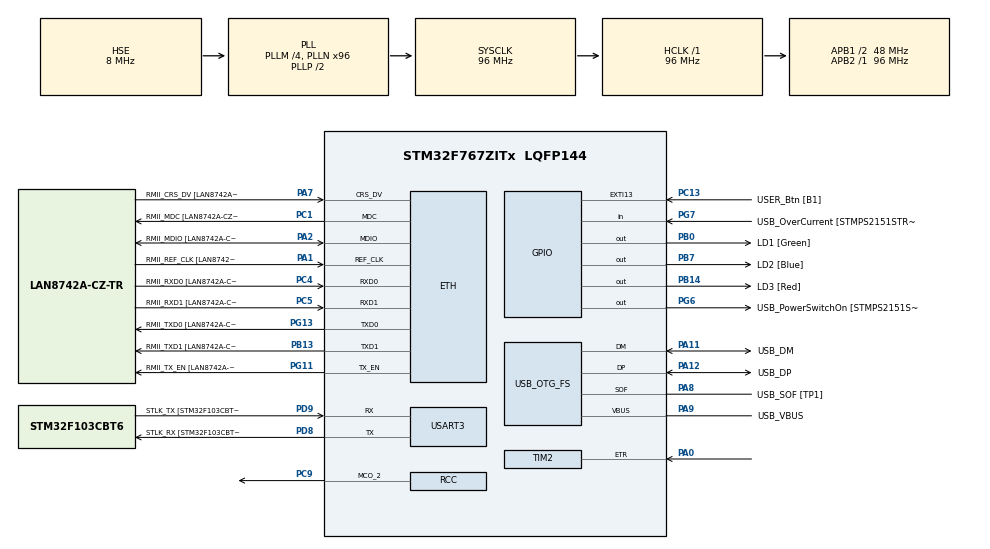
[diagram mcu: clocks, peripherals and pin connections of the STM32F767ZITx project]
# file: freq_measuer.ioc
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ETH.MediaInterface=HAL_ETH_RMII_MODE
ETH.PHY_Name=LAN8742A_PHY_ADDRESS
ETH.PHY_Value=0
ETH.PhyAddress=0
Mcu.Family=STM32F7
Mcu.Name=STM32F767ZITx
Mcu.Package=LQFP144
NVIC.PriorityGroup=NVIC_PRIORITYGROUP_4
PA0/WKUP.Signal=S_TIM2_CH1_ETR
PA1.GPIO_Label=RMII_REF_CLK [LAN8742A-CZ-TR_REFCLK0]
PA1.Mode=RMII
PA1.Signal=ETH_REF_CLK
PA10.GPIO_Label=USB_ID
PA10.Signal=USB_OTG_FS_ID
PA11.GPIO_Label=USB_DM
PA11.Mode=Device_Only
PA11.Signal=USB_OTG_FS_DM
PA12.GPIO_Label=USB_DP
PA12.Mode=Device_Only
PA12.Signal=USB_OTG_FS_DP
PA13.GPIO_Label=TMS
PA13.Mode=Serial_Wire
PA13.Signal=SYS_JTMS-SWDIO
PA14.GPIO_Label=TCK
PA14.Mode=Serial_Wire
PA14.Signal=SYS_JTCK-SWCLK
PA2.GPIO_Label=RMII_MDIO [LAN8742A-CZ-TR_MDIO]
PA2.Mode=RMII
PA2.Signal=ETH_MDIO
PA7.GPIO_Label=RMII_CRS_DV [LAN8742A-CZ-TR_CRS_DV]
PA7.Mode=RMII
PA7.Signal=ETH_CRS_DV
PA8.GPIO_Label=USB_SOF [TP1]
PA8.Mode=Activate_SOF_FS
PA8.Signal=USB_OTG_FS_SOF
PA9.GPIO_Label=USB_VBUS
PA9.Mode=Activate_VBUS
PA9.Signal=USB_OTG_FS_VBUS
PB0.GPIO_Label=LD1 [Green]
PB0.Signal=GPIO_Output
PB13.GPIO_Label=RMII_TXD1 [LAN8742A-CZ-TR_TXD1]
PB13.Mode=RMII
PB13.Signal=ETH_TXD1
PB14.GPIO_Label=LD3 [Red]
PB14.Signal=GPIO_Output
PB3.GPIO_Label=SWO
PB3.Signal=SYS_JTDO-SWO
PB7.GPIO_Label=LD2 [Blue]
PB7.Signal=GPIO_Output
PC1.GPIO_Label=RMII_MDC [LAN8742A-CZ-TR_MDC]
PC1.Mode=RMII
PC1.Signal=ETH_MDC
PC13.GPIO_Label=USER_Btn [B1]
PC13.Signal=GPXTI13
PC14/OSC32_IN.Signal=RCC_OSC32_IN
PC15/OSC32_OUT.Signal=RCC_OSC32_OUT
PC4.GPIO_Label=RMII_RXD0 [LAN8742A-CZ-TR_RXD0]
PC4.Mode=RMII
PC4.Signal=ETH_RXD0
PC5.GPIO_Label=RMII_RXD1 [LAN8742A-CZ-TR_RXD1]
PC5.Mode=RMII
PC5.Signal=ETH_RXD1
PC9.Mode=Clock-out-2
PC9.Signal=RCC_MCO_2
PD8.GPIO_Label=STLK_RX [STM32F103CBT6_PA3]
PD8.Mode=Asynchronous
PD8.Signal=USART3_TX
PD9.GPIO_Label=STLK_TX [STM32F103CBT6_PA2]
PD9.Mode=Asynchronous
PD9.Signal=USART3_RX
PG11.GPIO_Label=RMII_TX_EN [LAN8742A-CZ-TR_TXEN]
PG11.Mode=RMII
PG11.Signal=ETH_TX_EN
PG13.GPIO_Label=RMII_TXD0 [LAN8742A-CZ-TR_TXD0]
PG13.Mode=RMII
PG13.Signal=ETH_TXD0
PG6.GPIO_Label=USB_PowerSwitchOn [STMPS2151STR_EN]
PG6.Signal=GPIO_Output
PG7.GPIO_Label=USB_OverCurrent [STMPS2151STR_FAULT]
PG7.Signal=GPIO_Input
PH0/OSC_IN.GPIO_Label=MCO [STM32F103CBT6_PA8]
PH0/OSC_IN.Mode=HSE-External-Oscillator
PH0/OSC_IN.Signal=RCC_OSC_IN
PH1/OSC_OUT.Mode=HSE-External-Oscillator
PH1/OSC_OUT.Signal=RCC_OSC_OUT
ProjectManager.HeapSize=0x200
ProjectManager.StackSize=0x400
ProjectManager.TargetToolchain=STM32CubeIDE
RCC.48MHZClocksFreq_Value=24000000
RCC.AHBFreq_Value=96000000
RCC.APB1CLKDivider=RCC_HCLK_DIV2
RCC.APB1Freq_Value=48000000
RCC.APB1TimFreq_Value=96000000
RCC.APB2Freq_Value=96000000
RCC.APB2TimFreq_Value=96000000
RCC.CortexFreq_Value=96000000
RCC.HCLKFreq_Value=96000000
RCC.HSE_VALUE=8000000
RCC.HSI_VALUE=16000000
RCC.LSE_VALUE=32768
RCC.PLLM=4
RCC.PLLMUL=RCC_PLL_MUL9
RCC.PLLN=96
RCC.PLLQ=4
RCC.PRESCALERUSB=RCC_USBCLKSOURCE_PLL_DIV1_5
RCC.SYSCLKFreq_VALUE=96000000
RCC.SYSCLKSource=RCC_SYSCLKSOURCE_PLLCLK
RCC.SYSCLKSourceVirtual=RCC_SYSCLKSOURCE_PLLCLK
RCC.USBFreq_Value=48000000
RCC.VCOOutputFreq_Value=192000000
SH.S_TIM2_CH1_ETR.0=TIM2_ETR,ClockSourceETR_Mode2
USART3.VirtualMode-Asynchronous=VM_ASYNC
USB_OTG_FS.VirtualMode=Device_Only
board=NUCLEO-F767ZI

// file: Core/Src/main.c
/* USER CODE BEGIN Header */
/**
  ******************************************************************************
  * @file           : main.c
  * @brief          : Main program body
  ******************************************************************************
  * @attention
  *
  * Copyright (c) 2026 STMicroelectronics.
  * All rights reserved.
  *
  * This software is licensed under terms that can be found in the LICENSE file
  * in the root directory of this software component.
  * If no LICENSE file comes with this software, it is provided AS-IS.
  *
  ******************************************************************************
  */
/* USER CODE END Header */
#include "main.h"
#include "string.h"

#if defined ( __ICCARM__ ) /*!< IAR Compiler */
#pragma location=0x2007c000
ETH_DMADescTypeDef  DMARxDscrTab[ETH_RX_DESC_CNT]; /* Ethernet Rx DMA Descriptors */
#pragma location=0x2007c0a0
ETH_DMADescTypeDef  DMATxDscrTab[ETH_TX_DESC_CNT]; /* Ethernet Tx DMA Descriptors */

#elif defined ( __CC_ARM )  /* MDK ARM Compiler */

__attribute__((at(0x2007c000))) ETH_DMADescTypeDef  DMARxDscrTab[ETH_RX_DESC_CNT]; /* Ethernet Rx DMA Descriptors */
__attribute__((at(0x2007c0a0))) ETH_DMADescTypeDef  DMATxDscrTab[ETH_TX_DESC_CNT]; /* Ethernet Tx DMA Descriptors */

#elif defined ( __GNUC__ ) /* GNU Compiler */

ETH_DMADescTypeDef DMARxDscrTab[ETH_RX_DESC_CNT] __attribute__((section(".RxDecripSection"))); /* Ethernet Rx DMA Descriptors */
ETH_DMADescTypeDef DMATxDscrTab[ETH_TX_DESC_CNT] __attribute__((section(".TxDecripSection")));   /* Ethernet Tx DMA Descriptors */
#endif

ETH_TxPacketConfig TxConfig;

ETH_HandleTypeDef heth;

TIM_HandleTypeDef htim2;

UART_HandleTypeDef huart3;

PCD_HandleTypeDef hpcd_USB_OTG_FS;

/* USER CODE BEGIN PV */
float frek;
/* USER CODE END PV */

void SystemClock_Config(void);
static void MX_GPIO_Init(void);
static void MX_ETH_Init(void);
static void MX_USART3_UART_Init(void);
static void MX_USB_OTG_FS_PCD_Init(void);
static void MX_TIM2_Init(void);

/* USER CODE BEGIN 0 */
uint32_t Measure_ETR_Frequency_With_Tick(void)
{
    static uint8_t state = 0;
    static uint32_t start_tick = 0;
    static uint32_t start_count = 0;
    static uint32_t end_count = 0;
    static uint32_t freq = 0;

    if(state == 0)
    {
        start_tick = HAL_GetTick();
        start_count = __HAL_TIM_GET_COUNTER(&htim2);
        state = 1;
    }
    else if(state == 1)
    {
        if(HAL_GetTick() - start_tick >= 1000)
        {
            end_count = __HAL_TIM_GET_COUNTER(&htim2);

            freq = end_count - start_count;

            state = 0;
        }
    }

    return freq;
}
/* USER CODE END 0 */

int main(void)
{

  /* MCU Configuration--------------------------------------------------------*/

  /* Reset of all peripherals, Initializes the Flash interface and the Systick. */
  HAL_Init();

  /* Configure the system clock */
  SystemClock_Config();

  /* Initialize all configured peripherals */
  MX_GPIO_Init();
  MX_ETH_Init();
  MX_USART3_UART_Init();
  MX_USB_OTG_FS_PCD_Init();
  MX_TIM2_Init();
  /* USER CODE BEGIN 2 */
  HAL_RCC_MCOConfig(RCC_MCO2, RCC_MCO2SOURCE_HSE, RCC_MCODIV_2);
HAL_TIM_Base_Start(&htim2);
  /* USER CODE END 2 */

  /* Infinite loop */
  while (1)
  {

    /* USER CODE BEGIN 3 */
	  frek = (float)Measure_ETR_Frequency_With_Tick()/1000000.0;
  }
  /* USER CODE END 3 */
}

void SystemClock_Config(void)
{
  RCC_OscInitTypeDef RCC_OscInitStruct = {0};
  RCC_ClkInitTypeDef RCC_ClkInitStruct = {0};

  /** Configure the main internal regulator output voltage
  */
  __HAL_RCC_PWR_CLK_ENABLE();
  __HAL_PWR_VOLTAGESCALING_CONFIG(PWR_REGULATOR_VOLTAGE_SCALE3);

  /** Initializes the RCC Oscillators according to the specified parameters
  * in the RCC_OscInitTypeDef structure.
  */
  RCC_OscInitStruct.OscillatorType = RCC_OSCILLATORTYPE_HSE;
  RCC_OscInitStruct.HSEState = RCC_HSE_ON;
  RCC_OscInitStruct.PLL.PLLState = RCC_PLL_ON;
  RCC_OscInitStruct.PLL.PLLSource = RCC_PLLSOURCE_HSE;
  RCC_OscInitStruct.PLL.PLLM = 4;
  RCC_OscInitStruct.PLL.PLLN = 96;
  RCC_OscInitStruct.PLL.PLLP = RCC_PLLP_DIV2;
  RCC_OscInitStruct.PLL.PLLQ = 4;
  RCC_OscInitStruct.PLL.PLLR = 2;
  if (HAL_RCC_OscConfig(&RCC_OscInitStruct) != HAL_OK)
  {
    Error_Handler();
  }

  /** Activate the Over-Drive mode
  */
  if (HAL_PWREx_EnableOverDrive() != HAL_OK)
  {
    Error_Handler();
  }

  /** Initializes the CPU, AHB and APB buses clocks
  */
  RCC_ClkInitStruct.ClockType = RCC_CLOCKTYPE_HCLK|RCC_CLOCKTYPE_SYSCLK
                              |RCC_CLOCKTYPE_PCLK1|RCC_CLOCKTYPE_PCLK2;
  RCC_ClkInitStruct.SYSCLKSource = RCC_SYSCLKSOURCE_PLLCLK;
  RCC_ClkInitStruct.AHBCLKDivider = RCC_SYSCLK_DIV1;
  RCC_ClkInitStruct.APB1CLKDivider = RCC_HCLK_DIV2;
  RCC_ClkInitStruct.APB2CLKDivider = RCC_HCLK_DIV1;

  if (HAL_RCC_ClockConfig(&RCC_ClkInitStruct, FLASH_LATENCY_3) != HAL_OK)
  {
    Error_Handler();
  }
  HAL_RCC_MCOConfig(RCC_MCO2, RCC_MCO2SOURCE_SYSCLK, RCC_MCODIV_1);
}

static void MX_ETH_Init(void)
{

   static uint8_t MACAddr[6];

  heth.Instance = ETH;
  MACAddr[0] = 0x00;
  MACAddr[1] = 0x80;
  MACAddr[2] = 0xE1;
  MACAddr[3] = 0x00;
  MACAddr[4] = 0x00;
  MACAddr[5] = 0x00;
  heth.Init.MACAddr = &MACAddr[0];
  heth.Init.MediaInterface = HAL_ETH_RMII_MODE;
  heth.Init.TxDesc = DMATxDscrTab;
  heth.Init.RxDesc = DMARxDscrTab;
  heth.Init.RxBuffLen = 1524;

  if (HAL_ETH_Init(&heth) != HAL_OK)
  {
    Error_Handler();
  }

  memset(&TxConfig, 0 , sizeof(ETH_TxPacketConfig));
  TxConfig.Attributes = ETH_TX_PACKETS_FEATURES_CSUM | ETH_TX_PACKETS_FEATURES_CRCPAD;
  TxConfig.ChecksumCtrl = ETH_CHECKSUM_IPHDR_PAYLOAD_INSERT_PHDR_CALC;
  TxConfig.CRCPadCtrl = ETH_CRC_PAD_INSERT;

}

static void MX_TIM2_Init(void)
{

  TIM_ClockConfigTypeDef sClockSourceConfig = {0};
  TIM_MasterConfigTypeDef sMasterConfig = {0};

  htim2.Instance = TIM2;
  htim2.Init.Prescaler = 0;
  htim2.Init.CounterMode = TIM_COUNTERMODE_UP;
  htim2.Init.Period = 4294967295;
  htim2.Init.ClockDivision = TIM_CLOCKDIVISION_DIV1;
  htim2.Init.AutoReloadPreload = TIM_AUTORELOAD_PRELOAD_DISABLE;
  if (HAL_TIM_Base_Init(&htim2) != HAL_OK)
  {
    Error_Handler();
  }
  sClockSourceConfig.ClockSource = TIM_CLOCKSOURCE_ETRMODE2;
  sClockSourceConfig.ClockPolarity = TIM_CLOCKPOLARITY_NONINVERTED;
  sClockSourceConfig.ClockPrescaler = TIM_CLOCKPRESCALER_DIV1;
  sClockSourceConfig.ClockFilter = 0;
  if (HAL_TIM_ConfigClockSource(&htim2, &sClockSourceConfig) != HAL_OK)
  {
    Error_Handler();
  }
  sMasterConfig.MasterOutputTrigger = TIM_TRGO_RESET;
  sMasterConfig.MasterSlaveMode = TIM_MASTERSLAVEMODE_DISABLE;
  if (HAL_TIMEx_MasterConfigSynchronization(&htim2, &sMasterConfig) != HAL_OK)
  {
    Error_Handler();
  }

}

static void MX_USART3_UART_Init(void)
{

  huart3.Instance = USART3;
  huart3.Init.BaudRate = 115200;
  huart3.Init.WordLength = UART_WORDLENGTH_8B;
  huart3.Init.StopBits = UART_STOPBITS_1;
  huart3.Init.Parity = UART_PARITY_NONE;
  huart3.Init.Mode = UART_MODE_TX_RX;
  huart3.Init.HwFlowCtl = UART_HWCONTROL_NONE;
  huart3.Init.OverSampling = UART_OVERSAMPLING_16;
  huart3.Init.OneBitSampling = UART_ONE_BIT_SAMPLE_DISABLE;
  huart3.AdvancedInit.AdvFeatureInit = UART_ADVFEATURE_NO_INIT;
  if (HAL_UART_Init(&huart3) != HAL_OK)
  {
    Error_Handler();
  }

}

static void MX_USB_OTG_FS_PCD_Init(void)
{

  hpcd_USB_OTG_FS.Instance = USB_OTG_FS;
  hpcd_USB_OTG_FS.Init.dev_endpoints = 6;
  hpcd_USB_OTG_FS.Init.speed = PCD_SPEED_FULL;
  hpcd_USB_OTG_FS.Init.dma_enable = DISABLE;
  hpcd_USB_OTG_FS.Init.phy_itface = PCD_PHY_EMBEDDED;
  hpcd_USB_OTG_FS.Init.Sof_enable = ENABLE;
  hpcd_USB_OTG_FS.Init.low_power_enable = DISABLE;
  hpcd_USB_OTG_FS.Init.lpm_enable = DISABLE;
  hpcd_USB_OTG_FS.Init.vbus_sensing_enable = ENABLE;
  hpcd_USB_OTG_FS.Init.use_dedicated_ep1 = DISABLE;
  if (HAL_PCD_Init(&hpcd_USB_OTG_FS) != HAL_OK)
  {
    Error_Handler();
  }

}

static void MX_GPIO_Init(void)
{
  GPIO_InitTypeDef GPIO_InitStruct = {0};

  /* GPIO Ports Clock Enable */
  __HAL_RCC_GPIOC_CLK_ENABLE();
  __HAL_RCC_GPIOH_CLK_ENABLE();
  __HAL_RCC_GPIOA_CLK_ENABLE();
  __HAL_RCC_GPIOB_CLK_ENABLE();
  __HAL_RCC_GPIOD_CLK_ENABLE();
  __HAL_RCC_GPIOG_CLK_ENABLE();

  /*Configure GPIO pin Output Level */
  HAL_GPIO_WritePin(GPIOB, LD1_Pin|LD3_Pin|LD2_Pin, GPIO_PIN_RESET);

  /*Configure GPIO pin Output Level */
  HAL_GPIO_WritePin(USB_PowerSwitchOn_GPIO_Port, USB_PowerSwitchOn_Pin, GPIO_PIN_RESET);

  /*Configure GPIO pin : USER_Btn_Pin */
  GPIO_InitStruct.Pin = USER_Btn_Pin;
  GPIO_InitStruct.Mode = GPIO_MODE_IT_RISING;
  GPIO_InitStruct.Pull = GPIO_NOPULL;
  HAL_GPIO_Init(USER_Btn_GPIO_Port, &GPIO_InitStruct);

  /*Configure GPIO pins : LD1_Pin LD3_Pin LD2_Pin */
  GPIO_InitStruct.Pin = LD1_Pin|LD3_Pin|LD2_Pin;
  GPIO_InitStruct.Mode = GPIO_MODE_OUTPUT_PP;
  GPIO_InitStruct.Pull = GPIO_NOPULL;
  GPIO_InitStruct.Speed = GPIO_SPEED_FREQ_LOW;
  HAL_GPIO_Init(GPIOB, &GPIO_InitStruct);

  /*Configure GPIO pin : USB_PowerSwitchOn_Pin */
  GPIO_InitStruct.Pin = USB_PowerSwitchOn_Pin;
  GPIO_InitStruct.Mode = GPIO_MODE_OUTPUT_PP;
  GPIO_InitStruct.Pull = GPIO_NOPULL;
  GPIO_InitStruct.Speed = GPIO_SPEED_FREQ_LOW;
  HAL_GPIO_Init(USB_PowerSwitchOn_GPIO_Port, &GPIO_InitStruct);

  /*Configure GPIO pin : USB_OverCurrent_Pin */
  GPIO_InitStruct.Pin = USB_OverCurrent_Pin;
  GPIO_InitStruct.Mode = GPIO_MODE_INPUT;
  GPIO_InitStruct.Pull = GPIO_NOPULL;
  HAL_GPIO_Init(USB_OverCurrent_GPIO_Port, &GPIO_InitStruct);

  /*Configure GPIO pin : PC9 */
  GPIO_InitStruct.Pin = GPIO_PIN_9;
  GPIO_InitStruct.Mode = GPIO_MODE_AF_PP;
  GPIO_InitStruct.Pull = GPIO_NOPULL;
  GPIO_InitStruct.Speed = GPIO_SPEED_FREQ_LOW;
  GPIO_InitStruct.Alternate = GPIO_AF0_MCO;
  HAL_GPIO_Init(GPIOC, &GPIO_InitStruct);

}

void Error_Handler(void)
{
  __disable_irq();
  while (1)
  {
  }
}
